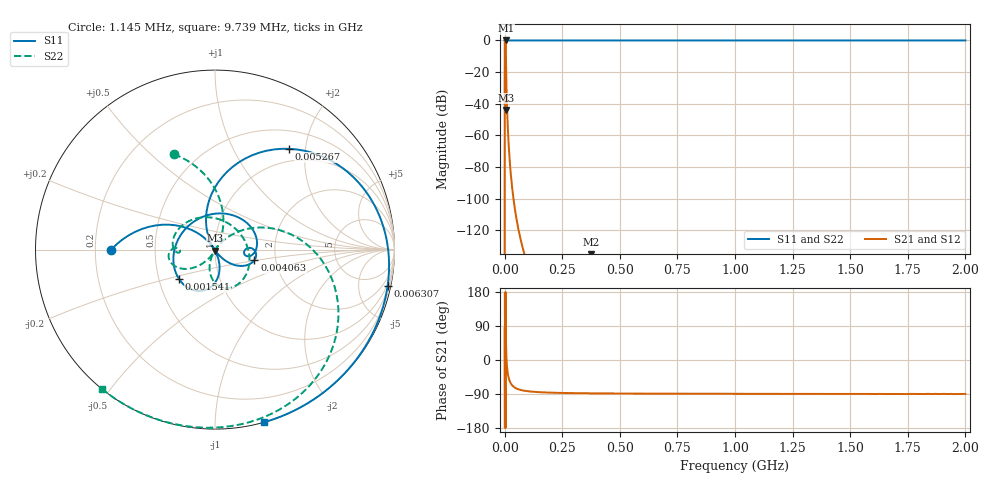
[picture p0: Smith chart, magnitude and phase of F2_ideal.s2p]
! Created with skrf 2.2.0 (http://scikit-rf.org).
# MHz S RI R 50.0
! Port[1] = P1
! Port[2] = P2
!freq ReS11 ImS11 ReS21 ImS21 ReS12 ImS12 ReS22 ImS22
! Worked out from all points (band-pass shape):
!   2001 points, 50 kHz to 2 GHz, reference 50 ohm
!   highest |S21| = 0.00 dB at 4.614 MHz (marker M1); lowest = -198.9 dB at 374.9 MHz (marker M2)
!   |S21| within 3 dB of the highest: 1.116 MHz to 5.278 MHz (4.161 MHz wide, 130 % of centre)
!   lowest |S11| = -43.9 dB at 4.614 MHz (marker M3), VSWR 1.01, Z = 50.2 - j0.609 ohm
!   |S11| at or under -10 dB: 1.196 MHz to 4.921 MHz (3.725 MHz wide, 122 % of centre)
!   |S22| runs from -43.9 to 0.0 dB; largest |S21 - S12| = 2e-15
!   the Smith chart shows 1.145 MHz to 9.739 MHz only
!   S11 on the Smith chart (normalised r, x): 1.145 MHz: 0.27, -0.00; 1.541 MHz: 0.64, -0.22; 4.063 MHz: 1.55, -0.19; 5.267 MHz: 0.78, +1.70; 6.307 MHz: 0.79, -9.48; 9.739 MHz: 0.00, -1.32
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0.05  0.9976 -0.0691  4.64e-09 3.9e-08  4.64e-09 3.9e-08  0.986 -0.1669
0.2287524  0.9491 -0.315  4.1e-05 6.87e-05  4.1e-05 6.87e-05  0.7271 -0.6865
0.2934364  0.9153 -0.4029  0.000179 0.000217  0.000179 0.000217  0.5714 -0.8206
0.5781571  0.639 -0.7691  0.00936 0.00213  0.00936 0.00213  -0.2426 -0.9701
0.8833407  -0.0343 -0.9917  0.1015 -0.0711  0.1015 -0.0711  -0.9206 -0.3704
1.145193  -0.5789 -0.000623  -0.4478 -0.6814  -0.4478 -0.6814  -0.2291 0.5316
1.279972  0.00998 -0.0273  -0.9969 0.0731  -0.9969 0.0731  -0.0138 -0.0255
1.540765  -0.2008 -0.1635  -0.3706 0.8919  -0.3706 0.8919  -0.2576 -0.0269
1.712999  -0.2133 0.0389  0.1077 0.9702  0.1077 0.9702  -0.2167 0.00882
2.575943  0.2319 0.0118  0.9444 -0.2328  0.9444 -0.2328  -0.1999 0.1182
3.321894  0.1666 -0.00253  0.2465 -0.9547  0.2465 -0.9547  0.1445 0.0828
4.062795  0.2196 -0.0589  -0.651 -0.7243  -0.651 -0.7243  0.0819 -0.2121
4.613703  0.00196 -0.00607  -0.9997 -0.0231  -0.9997 -0.0231  -0.00168 -0.00615
5.267146  0.4132 0.5616  -0.2243 0.6809  -0.2243 0.6809  0.6661 -0.2059
6.306819  0.9616 -0.2037  0.1334 0.127  0.1334 0.127  0.1565 -0.9704
9.738562  0.2705 -0.9627  0.0117 -0.00243  0.0117 -0.00243  -0.6305 -0.7761
10  0.2259 -0.9741  0.01 -0.00247  0.01 -0.00247  -0.6526 -0.7576
24.35415  -0.7211 -0.6928  5.19e-05 -8.57e-05  5.19e-05 -8.57e-05  -0.948 -0.3181
58.68728  -0.949 -0.3152  2.71e-07 -1.18e-06  2.71e-07 -1.18e-06  -0.9912 -0.1322
342.5997  -0.9985 -0.055  6.89e-12 -1.77e-10  6.89e-12 -1.77e-10  -0.9997 -0.0227
374.8906  -0.9987 -0.0503  4.01e-12 -1.13e-10  4.01e-12 -1.13e-10  -0.9998 -0.0207
2000  -1 -0.00943  2.31e-16 -2.61e-14  2.1e-16 -2.61e-14  -1 -0.00388
